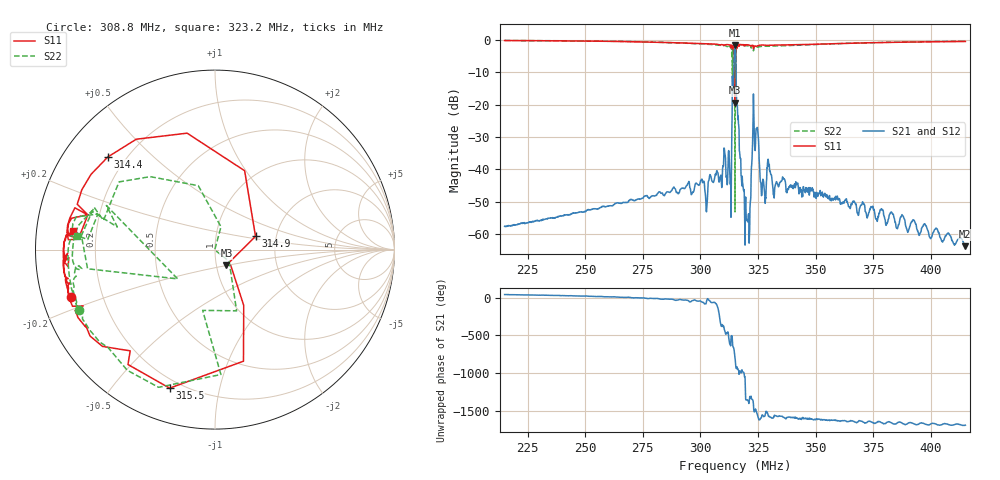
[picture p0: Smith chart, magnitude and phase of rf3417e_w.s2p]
!Keysight Technologies,E5080A,MY55200989,A.11.70.00
!Date: Tuesday, June 05, 2018 09:34:09
!Correction: S11(Full 2 Port(1,2))
!S21(Full 2 Port(1,2))
!S12(Full 2 Port(1,2))
!S22(Full 2 Port(1,2))
!S2P File: Measurements: S11, S21, S12, S22:
# Hz S  dB  R 50
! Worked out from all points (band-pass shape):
!   1601 points, 215 MHz to 415 MHz, reference 50 ohm
!   highest |S21| = -1.67 dB at 315 MHz (marker M1); lowest = -63.8 dB at 414.9 MHz (marker M2)
!   |S21| within 3 dB of the highest: 314.7034 MHz to 315.3161 MHz (612.7 kHz wide, 0.195 % of centre)
!   lowest |S11| = -19.4 dB at 315 MHz (marker M3), VSWR 1.24, Z = 55.9 - j9.8 ohm
!   |S11| at or under -10 dB: 314.8225 MHz to 315.2379 MHz (415.4 kHz wide, 0.132 % of centre)
!   |S22| runs from -53.2 to -0.1 dB; largest |S21 - S12| = 0.00041
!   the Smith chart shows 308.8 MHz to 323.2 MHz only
!   S11 on the Smith chart (normalised r, x): 308.8 MHz: 0.09, -0.16; 314.4 MHz: 0.13, +0.37; 314.9 MHz: 1.56, +0.24; 315.5 MHz: 0.16, -0.71; 323.2 MHz: 0.11, +0.06
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2.15e8  -0.15 -51.8  -57.67 40.0  -57.73 39.4  -0.13 -45.6
2.48375e8  -0.31 -71.6  -53.16 19.4  -53.21 19.6  -0.27 -63.2
2.8175e8  -0.70 -106.9  -47.22 -12.9  -47.22 -13.0  -0.68 -96.4
3.0875e8  -1.48 -161.9  -42.07 16.8  -42.07 16.8  -1.64 -155.8
3.125e8  -1.50 -178.8  -36.61 138.3  -36.69 138.2  -2.17 -172.1
3.14375e8  -2.06 139.2  -12.47 60.8  -12.47 60.8  -3.85 165.3
3.14875e8  -12.48 18.1  -2.04 -39.5  -2.04 -39.5  -17.62 75.3
3.15e8  -19.37 -53.7  -1.67 -74.7  -1.67 -74.7  -53.23 -132.0
3.155e8  -1.81 -108.1  -12.54 154.8  -12.53 154.8  -3.14 -87.3
3.16375e8  -1.51 -149.2  -23.56 126.9  -23.56 127.0  -1.62 -147.5
3.18375e8  -1.42 -171.6  -44.56 100.8  -44.56 100.9  -1.67 -168.5
3.2025e8  -1.46 -180.0  -55.59 89.4  -55.68 89.1  -1.74 -178.5
3.21375e8  -1.61 174.6  -58.59 125.1  -58.57 124.9  -1.86 176.1
3.2325e8  -1.97 172.6  -25.39 -61.2  -25.38 -61.3  -2.23 174.2
3.24e8  -1.92 168.6  -29.50 -35.9  -29.50 -35.9  -2.11 167.3
3.27375e8  -1.55 159.0  -43.68 -128.3  -43.67 -128.2  -1.89 157.1
3.29875e8  -1.62 152.1  -38.49 -132.9  -38.49 -133.0  -1.93 148.5
3.32125e8  -1.54 146.0  -46.90 -111.5  -46.92 -111.4  -1.84 141.2
3.48375e8  -1.34 106.4  -46.61 -160.8  -46.55 -160.7  -1.43 95.7
3.8175e8  -0.74 55.6  -55.15 162.9  -55.16 163.2  -0.68 44.0
4.14875e8  -0.44 29.2  -63.83 115.2  -63.80 115.5  -0.38 20.0
4.15e8  -0.44 29.2  -63.65 116.7  -63.78 116.2  -0.38 19.9
